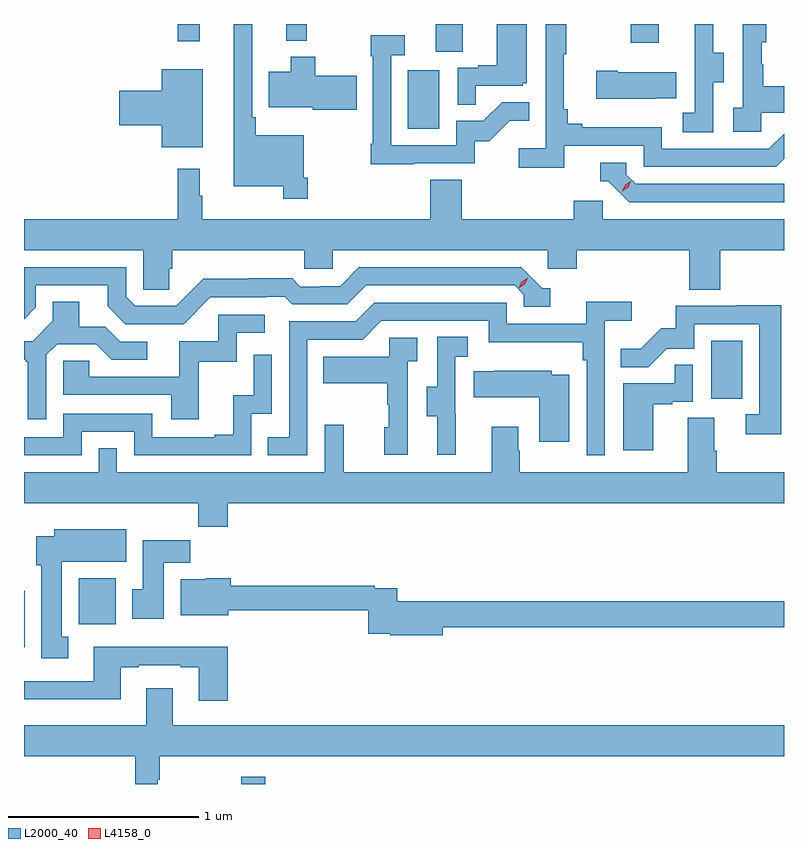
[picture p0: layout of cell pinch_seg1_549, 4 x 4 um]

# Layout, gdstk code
import gdstk
lib = gdstk.Library(unit=1e-6, precision=1e-09)
def R(c, l, rs):  # rectangles x0, y0, x1, y1
    for r in rs: c.add(gdstk.rectangle(r[:2], r[2:], *l))
def P(c, l, *ps):  # polygons
    for p in ps: c.add(gdstk.Polygon(p, *l))
L2000_40 = (2000, 40)
L4158_0 = (4158, 0)

pinch_seg1_549 = lib.new_cell('pinch_seg1_549')
R(pinch_seg1_549, L2000_40, [(1045.116,532.939,1045.244,532.978), (1043.973,533.66,1043.977,533.956), (1044.26,533.78,1044.457,534.022), (1047.59,534.966,1047.754,535.273), (1045.994,536.388,1046.158,536.695), (1046.141,536.794,1046.281,536.939), (1047.166,536.841,1047.313,536.939), (1044.781,536.847,1044.899,536.939), (1045.352,536.852,1045.462,536.939)])
P(pinch_seg1_549, L2000_40, [(1046.351,536.613),(1046.598,536.613),(1046.598,536.628),(1046.62,536.628),(1046.62,536.939),(1046.462,536.939),(1046.462,536.722),(1046.363,536.722),(1046.363,536.709),(1046.256,536.709),(1046.256,536.515),(1046.351,536.515)],
  [(1045.466,536.131),(1045.446,536.131),(1045.446,536.353),(1045.193,536.353),(1045.193,536.449),(1045.173,536.449),(1045.173,536.939),(1045.076,536.939),(1045.076,536.084),(1045.338,536.084),(1045.338,536.019),(1045.466,536.019)],
  [(1047.852,536.471),(1047.973,536.471),(1047.973,536.611),(1047.865,536.611),(1047.865,536.726),(1047.855,536.726),(1047.855,536.844),(1047.88,536.844),(1047.88,536.939),(1047.756,536.939),(1047.756,536.498),(1047.705,536.498),(1047.705,536.373),(1047.852,536.373)],
  [(1047.6,536.632),(1047.655,536.632),(1047.655,536.787),(1047.601,536.787),(1047.601,536.939),(1047.503,536.939),(1047.503,536.775),(1047.504,536.775),(1047.504,536.471),(1047.441,536.471),(1047.441,536.368),(1047.6,536.368)],
  [(1046.816,536.298),(1047.234,536.298),(1047.234,536.187),(1047.931,536.187),(1047.973,536.229),(1047.973,536.362),(1047.894,536.283),(1047.33,536.283),(1047.33,536.395),(1046.911,536.395),(1046.911,536.414),(1046.834,536.414),(1046.834,536.491),(1046.815,536.491),(1046.815,536.779),(1046.827,536.779),(1046.827,536.939),(1046.718,536.939),(1046.718,536.284),(1046.577,536.284),(1046.577,536.182),(1046.816,536.182)],
  [(1046.027,536.205),(1046.346,536.205),(1046.346,536.322),(1046.422,536.322),(1046.529,536.429),(1046.633,536.429),(1046.633,536.528),(1046.489,536.528),(1046.391,536.43),(1046.247,536.43),(1046.247,536.301),(1045.905,536.301),(1045.905,536.775),(1045.978,536.775),(1045.978,536.881),(1045.797,536.881),(1045.797,536.768),(1045.809,536.768),(1045.809,536.308),(1045.797,536.308),(1045.797,536.2),(1046.027,536.2)],
  [(1045.723,536.667),(1045.506,536.667),(1045.506,536.767),(1045.376,536.767),(1045.376,536.689),(1045.262,536.689),(1045.262,536.501),(1045.494,536.501),(1045.494,536.489),(1045.723,536.489)],
  [(1044.913,536.701),(1044.698,536.701),(1044.698,536.588),(1044.474,536.588),(1044.474,536.405),(1044.698,536.405),(1044.698,536.291),(1044.913,536.291)],
  [(1047.299,536.549),(1047.407,536.549),(1047.407,536.686),(1047.097,536.686),(1047.097,536.694),(1046.985,536.694),(1046.985,536.546),(1047.299,536.546)],
  [(1047.973,536.097),(1047.192,536.097),(1047.144,536.145),(1047.144,536.208),(1047.005,536.208),(1047.005,536.112),(1047.048,536.112),(1047.159,536.001),(1047.973,536.001)],
  [(1044.737,535.65),(1044.752,535.65),(1044.752,535.748),(1045.449,535.748),(1045.449,535.65),(1045.599,535.65),(1045.599,535.748),(1046.73,535.748),(1046.73,535.65),(1046.882,535.65),(1046.882,535.748),(1047.473,535.748),(1047.473,535.54),(1047.638,535.54),(1047.638,535.748),(1047.973,535.748),(1047.973,535.912),(1047.018,535.912),(1047.018,536.01),(1046.867,536.01),(1046.867,535.912),(1046.276,535.912),(1046.276,536.12),(1046.111,536.12),(1046.111,535.912),(1044.91,535.912),(1044.91,536.036),(1044.898,536.036),(1044.898,536.176),(1044.781,536.176),(1044.781,535.912),(1043.973,535.912),(1043.973,535.748),(1044.6,535.748),(1044.6,535.54),(1044.737,535.54)],
  [(1044.954,535.5),(1045.247,535.5),(1045.247,535.503),(1045.346,535.503),(1045.385,535.464),(1045.674,535.464),(1045.773,535.563),(1046.556,535.563),(1046.604,535.515),(1046.604,535.452),(1046.743,535.452),(1046.743,535.548),(1046.7,535.548),(1046.589,535.659),(1045.736,535.659),(1045.637,535.56),(1045.53,535.56),(1045.53,535.557),(1045.427,535.557),(1045.385,535.6),(1045.152,535.6),(1045.152,535.597),(1044.916,535.597),(1044.774,535.455),(1044.558,535.455),(1044.51,535.503),(1044.51,535.659),(1043.973,535.659),(1043.973,535.386),(1044.036,535.449),(1044.036,535.563),(1044.413,535.563),(1044.413,535.453),(1044.507,535.359),(1044.813,535.359)],
  [(1045.464,535.278),(1045.755,535.278),(1045.854,535.377),(1046.418,535.377),(1046.418,535.265),(1046.914,535.265),(1046.914,535.169),(1046.934,535.169),(1046.934,534.669),(1047.03,534.669),(1047.03,535.376),(1047.172,535.376),(1047.172,535.478),(1046.933,535.478),(1046.933,535.362),(1046.514,535.362),(1046.514,535.473),(1045.817,535.473),(1045.718,535.374),(1045.368,535.374),(1045.368,534.765),(1045.255,534.765),(1045.255,534.669),(1045.464,534.669)],
  [(1044.09,535.197),(1044.147,535.254),(1044.353,535.254),(1044.434,535.173),(1044.622,535.173),(1044.622,535.266),(1044.48,535.266),(1044.4,535.346),(1044.265,535.346),(1044.265,535.478),(1044.125,535.478),(1044.125,535.376),(1044.018,535.269),(1043.973,535.269),(1043.973,535.172),(1043.982,535.172),(1043.982,535.161),(1043.993,535.161),(1043.993,534.858),(1044.09,534.858)],
  [(1047.959,535.46),(1047.721,535.46),(1047.721,535.455),(1047.403,535.455),(1047.403,535.338),(1047.326,535.338),(1047.219,535.231),(1047.115,535.231),(1047.115,535.132),(1047.259,535.132),(1047.357,535.23),(1047.501,535.23),(1047.501,535.359),(1047.843,535.359),(1047.843,534.885),(1047.771,534.885),(1047.771,534.78),(1047.959,534.78)],
  [(1044.893,535.161),(1045.092,535.161),(1045.092,535.314),(1045.24,535.314),(1045.24,535.41),(1044.996,535.41),(1044.996,535.269),(1044.791,535.269),(1044.791,535.083),(1044.317,535.083),(1044.317,535.167),(1044.18,535.167),(1044.18,534.987),(1044.749,534.987),(1044.749,534.858),(1044.893,534.858)],
  [(1046.246,534.885),(1046.244,534.885),(1046.244,535.189),(1046.308,535.189),(1046.308,535.292),(1046.148,535.292),(1046.148,535.029),(1046.093,535.029),(1046.093,534.874),(1046.147,534.874),(1046.147,534.672),(1046.246,534.672)],
  [(1045.992,535.163),(1046.044,535.163),(1046.044,535.287),(1045.896,535.287),(1045.896,535.189),(1045.549,535.189),(1045.549,535.049),(1045.884,535.049),(1045.884,534.935),(1045.894,534.935),(1045.894,534.816),(1045.868,534.816),(1045.868,534.672),(1045.992,534.672)],
  [(1044.276,534.792),(1044.552,534.792),(1044.552,534.669),(1045.17,534.669),(1045.17,534.888),(1045.278,534.888),(1045.278,535.198),(1045.182,535.198),(1045.182,534.986),(1045.073,534.986),(1045.073,534.778),(1044.977,534.778),(1044.977,534.765),(1044.648,534.765),(1044.648,534.888),(1044.18,534.888),(1044.18,534.765),(1043.973,534.765),(1043.973,534.669),(1044.276,534.669)],
  [(1047.286,534.939),(1047.386,534.939),(1047.386,534.951),(1047.492,534.951),(1047.492,535.145),(1047.397,535.145),(1047.397,535.047),(1047.128,535.047),(1047.128,534.696),(1047.286,534.696)],
  [(1046.842,535.093),(1046.751,535.093),(1046.751,535.114),(1046.449,535.114),(1046.449,535.111),(1046.341,535.111),(1046.341,534.974),(1046.684,534.974),(1046.684,534.741),(1046.842,534.741)],
  [(1047.607,534.692),(1047.607,534.866),(1047.467,534.866),(1047.467,534.58),(1046.583,534.58),(1046.583,534.692),(1046.575,534.692),(1046.575,534.82),(1046.435,534.82),(1046.435,534.58),(1045.655,534.58),(1045.655,534.829),(1045.557,534.829),(1045.557,534.58),(1044.462,534.58),(1044.462,534.707),(1044.366,534.707),(1044.366,534.58),(1043.973,534.58),(1043.973,534.416),(1044.889,534.416),(1044.889,534.292),(1045.046,534.292),(1045.046,534.416),(1047.973,534.416),(1047.973,534.58),(1047.62,534.58),(1047.62,534.692)],
  [(1044.205,533.714),(1044.172,533.714),(1044.172,534.11),(1044.511,534.11),(1044.511,534.28),(1044.131,534.28),(1044.131,534.244),(1044.038,534.244),(1044.038,534.09),(1044.065,534.09),(1044.065,533.601),(1044.205,533.601)],
  [(1044.709,534.104),(1044.848,534.104),(1044.848,534.222),(1044.599,534.222),(1044.599,533.964),(1044.542,533.964),(1044.542,533.808),(1044.709,533.808)],
  [(1046.176,533.764),(1047.973,533.764),(1047.973,533.9),(1045.937,533.9),(1045.937,533.97),(1045.82,533.97),(1045.82,533.983),(1045.061,533.983),(1045.061,534.022),(1044.93,534.022),(1044.93,534.016),(1044.797,534.016),(1044.797,533.828),(1045.048,533.828),(1045.048,533.854),(1045.784,533.854),(1045.784,533.729),(1045.9,533.729),(1045.9,533.722),(1046.176,533.722)],
  [(1045.046,533.662),(1044.341,533.662),(1044.341,533.481),(1043.973,533.481),(1043.973,533.384),(1044.481,533.384),(1044.481,533.553),(1044.577,533.553),(1044.577,533.565),(1044.797,533.565),(1044.797,533.553),(1044.893,533.553),(1044.893,533.376),(1045.046,533.376)],
  [(1044.676,532.961),(1044.688,532.961),(1044.688,533.084),(1047.973,533.084),(1047.973,533.248),(1044.757,533.248),(1044.757,533.443),(1044.617,533.443),(1044.617,533.248),(1043.973,533.248),(1043.973,533.084),(1044.559,533.084),(1044.559,532.939),(1044.676,532.939)])
P(pinch_seg1_549, L4158_0, [(1047.121,536.058),(1047.121,536.059),(1047.137,536.092),(1047.167,536.112),(1047.167,536.112),(1047.167,536.112),(1047.152,536.079),(1047.122,536.058)],
  [(1046.578,535.55),(1046.578,535.55),(1046.594,535.583),(1046.625,535.603),(1046.625,535.603),(1046.625,535.603),(1046.609,535.57),(1046.579,535.55)])

lib.write_gds('pinch_seg1_549.gds')
